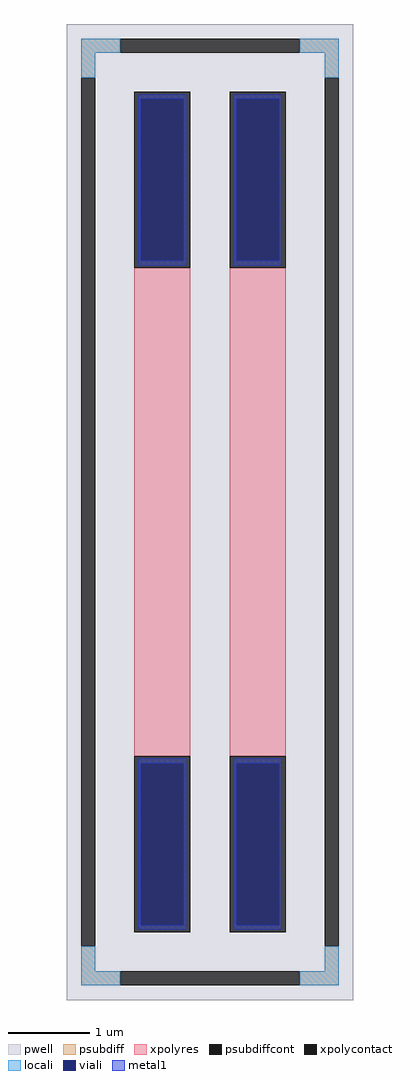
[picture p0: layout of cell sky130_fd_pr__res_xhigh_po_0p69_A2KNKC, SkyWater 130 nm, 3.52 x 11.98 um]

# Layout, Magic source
magic
tech sky130A
magscale 1 2
<< pwell >>
rect -352 -1198 352 1198
<< psubdiff >>
rect -316 1128 -220 1162
rect 220 1128 316 1162
rect -316 1066 -282 1128
rect 282 1066 316 1128
rect -316 -1128 -282 -1066
rect 282 -1128 316 -1066
rect -316 -1162 -220 -1128
rect 220 -1162 316 -1128
<< psubdiffcont >>
rect -220 1128 220 1162
rect -316 -1066 -282 1066
rect 282 -1066 316 1066
rect -220 -1162 220 -1128
<< xpolycontact >>
rect -186 600 -48 1032
rect -186 -1032 -48 -600
rect 48 600 186 1032
rect 48 -1032 186 -600
<< xpolyres >>
rect -186 -600 -48 600
rect 48 -600 186 600
<< locali >>
rect -316 1128 -220 1162
rect 220 1128 316 1162
rect -316 1066 -282 1128
rect 282 1066 316 1128
rect -316 -1128 -282 -1066
rect 282 -1128 316 -1066
rect -316 -1162 -220 -1128
rect 220 -1162 316 -1128
<< viali >>
rect -170 617 -64 1014
rect 64 617 170 1014
rect -170 -1014 -64 -617
rect 64 -1014 170 -617
<< metal1 >>
rect -176 1014 -58 1026
rect -176 617 -170 1014
rect -64 617 -58 1014
rect -176 605 -58 617
rect 58 1014 176 1026
rect 58 617 64 1014
rect 170 617 176 1014
rect 58 605 176 617
rect -176 -617 -58 -605
rect -176 -1014 -170 -617
rect -64 -1014 -58 -617
rect -176 -1026 -58 -1014
rect 58 -617 176 -605
rect 58 -1014 64 -617
rect 170 -1014 176 -617
rect 58 -1026 176 -1014
<< properties >>
string FIXED_BBOX -299 -1145 299 1145
string gencell sky130_fd_pr__res_xhigh_po_0p69
string library sky130
string parameters w 0.690 l 6 m 1 nx 2 wmin 0.690 lmin 0.50 rho 2000 val 17.936k dummy 0 dw 0.0 term 188.2 sterm 0.0 caplen 0 wmax 0.690 guard 1 glc 1 grc 1 gtc 1 gbc 1 compatible {sky130_fd_pr__res_xhigh_po_0p35  sky130_fd_pr__res_xhigh_po_0p69 sky130_fd_pr__res_xhigh_po_1p41  sky130_fd_pr__res_xhigh_po_2p85 sky130_fd_pr__res_xhigh_po_5p73} snake 0 full_metal 1 n_guard 0 hv_guard 0 vias 1 viagb 0 viagt 0 viagl 0 viagr 0
string sky130_fd_pr__res_xhigh_po_0p69_A2KNKC parameters
<< end >>
